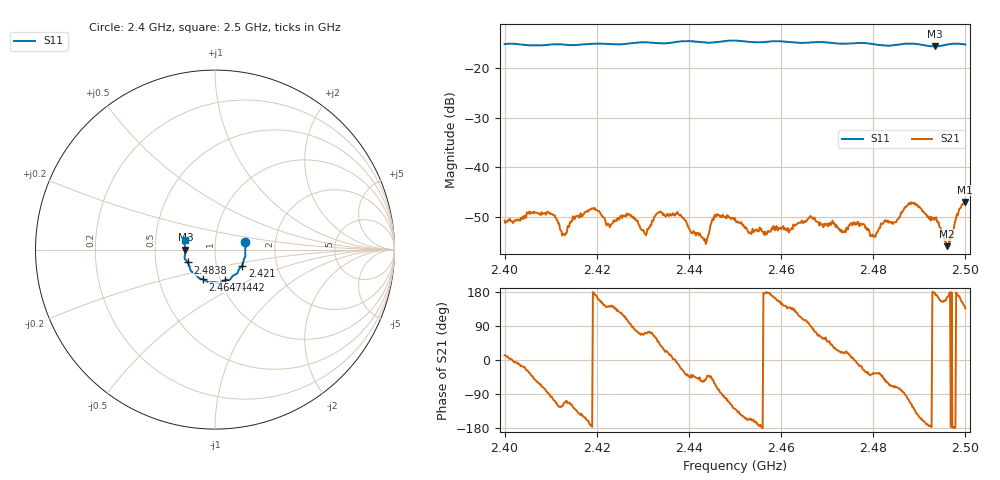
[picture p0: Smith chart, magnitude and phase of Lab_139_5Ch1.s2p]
# Hz S RI R 50
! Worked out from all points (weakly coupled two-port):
!   601 points, 2.4 GHz to 2.5 GHz, reference 50 ohm
!   highest |S21| = -47.03 dB at 2.4998 GHz (marker M1); lowest = -55.9 dB at 2.496 GHz (marker M2)
!   lowest |S11| = -15.7 dB at 2.4933 GHz (marker M3), VSWR 1.39, Z = 35.9 + j0.0225 ohm
!   |S11| at or under -10 dB: start of sweep to end of sweep
!   S12 and S22 are empty: the file has one direction only
!   S11 on the Smith chart (normalised r, x): 2.4 GHz: 1.40, +0.12; 2.421 GHz: 1.33, -0.24; 2.4442 GHz: 1.05, -0.37; 2.4647 GHz: 0.83, -0.28; 2.4838 GHz: 0.73, -0.11; 2.5 GHz: 0.71, +0.08
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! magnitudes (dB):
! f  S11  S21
! 2.4 GHz  -15.2  -50.8
! 2.4097 GHz  -15.3  -49.2
! 2.413 GHz  -15.3  -53.6
! 2.4167 GHz  -15.3  -49.7
! 2.421 GHz  -15.1  -49.6
! 2.427 GHz  -15.1  -49.5
! 2.4303 GHz  -14.8  -53.3
! 2.4333 GHz  -15.0  -49.1
! 2.4442 GHz  -14.9  -53.8
! 2.446 GHz  -14.8  -49.7
! 2.45 GHz  -14.5  -50.3
! 2.4565 GHz  -14.8  -53.0
! 2.4647 GHz  -14.9  -51.1
! 2.4667 GHz  -14.8  -50.2
! 2.48 GHz  -15.2  -54.0
! 2.4833 GHz  -15.5  -51.2
! 2.4838 GHz  -15.5  -51.1
! 2.4882 GHz  -15.1  -47.1
! 2.4933 GHz  -15.7  -50.2
! 2.496 GHz  -15.3  -55.9
! 2.4998 GHz  -15.2  -47.0
! 2.5 GHz  -15.3  -47.1
